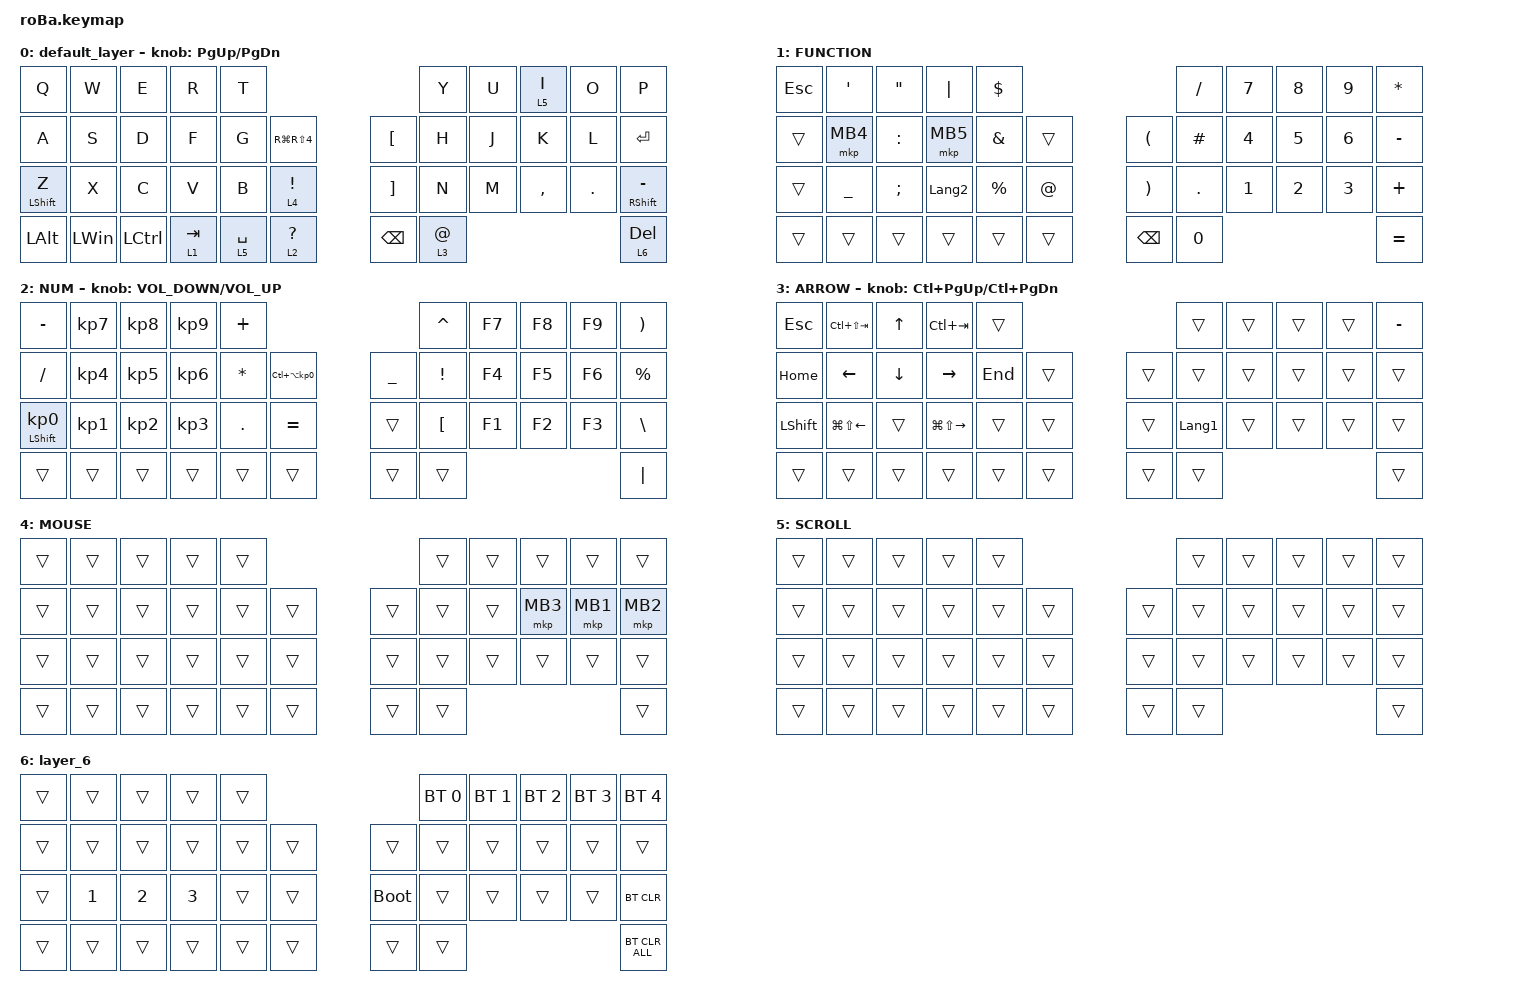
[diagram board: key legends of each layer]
#include <behaviors.dtsi>
#include <dt-bindings/zmk/bt.h>
#include <dt-bindings/zmk/keys.h>
#include <dt-bindings/zmk/pointing.h>

&mt {
    flavor = "balanced";
    quick-tap-ms = <0>;
};

&trackball {
    automouse-layer = <4>;
    scroll-layers = <5>;

    // arrows {
    //     layers = <3>;
    //     bindings =
    //         <&kp RIGHT_ARROW>,
    //         <&kp LEFT_ARROW>,
    //         <&kp UP_ARROW>,
    //         <&kp DOWN_ARROW>;
    //     tick = <10>;
    //     wait-ms = <5>;
    //     tap-ms = <5>;
    // };
};

/ {
    combos {
        compatible = "zmk,combos";

        tab {
            bindings = <&kp TAB>;
            key-positions = <11 12>;
        };

        shift_tab {
            bindings = <&kp LS(TAB)>;
            key-positions = <12 13>;
        };

        muhennkann {
            bindings = <&to_layer_0 INT_MUHENKAN>;
            key-positions = <11 10>;
        };

        double_quotation {
            bindings = <&kp DOUBLE_QUOTES>;
            key-positions = <20 21>;
        };

        eq {
            bindings = <&kp EQUAL>;
            key-positions = <24 25>;
        };
    };

    macros {
        to_layer_0: to_layer_0 {
            compatible = "zmk,behavior-macro-one-param";
            #binding-cells = <1>;
            bindings = <&to 0 &macro_param_1to1 &kp MACRO_PLACEHOLDER>;
            label = "TO_LAYER_0";
        };
    };

    behaviors {
        lt_to_layer_0: lt_to_layer_0 {
            compatible = "zmk,behavior-hold-tap";
            label = "LAYER_TAP_TO_0";
            bindings = <&mo>, <&to_layer_0>;

            #binding-cells = <2>;
            tapping-term-ms = <200>;
        };
    };

    keymap {
        compatible = "zmk,keymap";

        default_layer {
            bindings = <
&kp Q             &kp W         &kp E      &kp R      &kp T                                                     &kp Y          &kp U  &lt 5 I    &kp O    &kp P
&kp A             &kp S         &kp D      &kp F      &kp G        &kp RG(RS(NUMBER_4))      &kp LEFT_BRACKET   &kp H          &kp J  &kp K      &kp L    &kp ENTER
&mt LEFT_SHIFT Z  &kp X         &kp C      &kp V      &kp B        &lt 4 EXCLAMATION         &kp RIGHT_BRACKET  &kp N          &kp M  &kp COMMA  &kp DOT  &mt RIGHT_SHIFT MINUS
&kp LEFT_ALT      &kp LEFT_WIN  &kp LCTRL  &lt 1 TAB  &lt 5 SPACE  &lt 2 QUESTION            &kp BACKSPACE      &lt 3 AT_SIGN                             &lt 6 DELETE
            >;

            sensor-bindings = <&inc_dec_kp PG_UP PAGE_DOWN>;
        };

        FUNCTION {
            bindings = <
&kp ESCAPE  &kp SINGLE_QUOTE  &kp DOUBLE_QUOTES  &kp PIPE        &kp DOLLAR                                             &kp SLASH   &kp N7        &kp N8        &kp N9        &kp ASTERISK
&trans      &mkp MB4          &kp COLON          &mkp MB5        &kp AMPERSAND  &trans           &kp LEFT_PARENTHESIS   &kp HASH    &kp NUMBER_4  &kp N5        &kp NUMBER_6  &kp MINUS
&trans      &kp UNDER         &kp SEMICOLON      &kp LANGUAGE_2  &kp PERCENT    &kp AT_SIGN      &kp RIGHT_PARENTHESIS  &kp PERIOD  &kp NUMBER_1  &kp NUMBER_2  &kp NUMBER_3  &kp PLUS
&trans      &trans            &trans             &trans          &trans         &trans           &kp BACKSPACE          &kp N0                                                &kp EQUAL
            >;
        };

        NUM {
            bindings = <
&kp MINUS                   &kp KP_NUMBER_7  &kp KP_NUMBER_8  &kp KP_NUMBER_9  &kp PLUS                                                   &kp CARET         &kp F7  &kp F8  &kp F9  &kp RIGHT_PARENTHESIS
&kp SLASH                   &kp KP_NUMBER_4  &kp KP_NUMBER_5  &kp KP_NUMBER_6  &kp ASTERISK  &kp LC(LA(KP_NUMBER_0))      &kp UNDERSCORE  &kp EXCLAMATION   &kp F4  &kp F5  &kp F6  &kp PERCENT
&mt LEFT_SHIFT KP_NUMBER_0  &kp KP_NUMBER_1  &kp KP_NUMBER_2  &kp KP_NUMBER_3  &kp PERIOD    &kp EQUAL                    &trans          &kp LEFT_BRACKET  &kp F1  &kp F2  &kp F3  &kp BACKSLASH
&trans                      &trans           &trans           &trans           &trans        &trans                       &trans          &trans                                    &kp PIPE
            >;

            sensor-bindings = <&inc_dec_kp C_VOLUME_DOWN C_VOLUME_UP>;
        };

        ARROW {
            bindings = <
&kp ESCAPE      &kp LC(LS(TAB))         &kp UP_ARROW    &kp LC(TAB)              &trans                       &trans          &trans  &trans  &trans  &kp MINUS
&kp HOME        &kp LEFT_ARROW          &kp DOWN_ARROW  &kp RIGHT_ARROW          &kp END  &trans      &trans  &trans          &trans  &trans  &trans  &trans
&kp LEFT_SHIFT  &kp LG(LS(LEFT_ARROW))  &trans          &kp LG(LS(RIGHT_ARROW))  &trans   &trans      &trans  &kp LANGUAGE_1  &trans  &trans  &trans  &trans
&trans          &trans                  &trans          &trans                   &trans   &trans      &trans  &trans                                  &trans
            >;

            sensor-bindings = <&inc_dec_kp LC(PAGE_UP) LC(PAGE_DOWN)>;
        };

        MOUSE {
            bindings = <
&trans  &trans  &trans  &trans  &trans                      &trans  &trans  &trans    &trans    &trans
&trans  &trans  &trans  &trans  &trans  &trans      &trans  &trans  &trans  &mkp MB3  &mkp MB1  &mkp MB2
&trans  &trans  &trans  &trans  &trans  &trans      &trans  &trans  &trans  &trans    &trans    &trans
&trans  &trans  &trans  &trans  &trans  &trans      &trans  &trans                              &trans
            >;
        };

        SCROLL {
            bindings = <
&trans  &trans  &trans  &trans  &trans                      &trans  &trans  &trans  &trans  &trans
&trans  &trans  &trans  &trans  &trans  &trans      &trans  &trans  &trans  &trans  &trans  &trans
&trans  &trans  &trans  &trans  &trans  &trans      &trans  &trans  &trans  &trans  &trans  &trans
&trans  &trans  &trans  &trans  &trans  &trans      &trans  &trans                          &trans
            >;
        };

        layer_6 {
            bindings = <
&trans  &trans        &trans        &trans        &trans                           &bt BT_SEL 0  &bt BT_SEL 1  &bt BT_SEL 2  &bt BT_SEL 3  &bt BT_SEL 4
&trans  &trans        &trans        &trans        &trans  &trans      &trans       &trans        &trans        &trans        &trans        &trans
&trans  &kp NUMBER_1  &kp NUMBER_2  &kp NUMBER_3  &trans  &trans      &bootloader  &trans        &trans        &trans        &trans        &bt BT_CLR
&trans  &trans        &trans        &trans        &trans  &trans      &trans       &trans                                                  &bt BT_CLR_ALL
            >;
        };
    };
};
